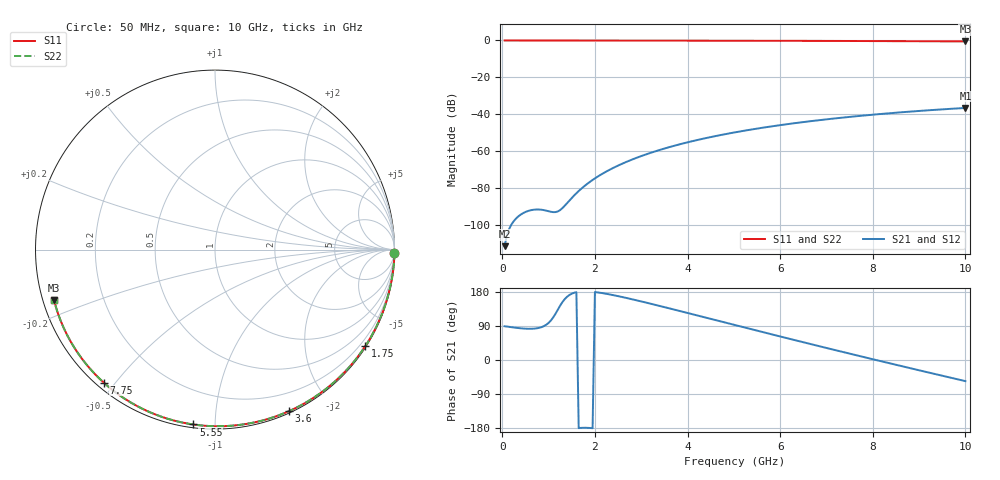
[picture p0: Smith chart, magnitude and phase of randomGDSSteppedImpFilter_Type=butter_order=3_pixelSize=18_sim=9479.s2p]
! freq	dB(S11)	phase(S11)	dB(S12)	phase(S12)
!  dB(S21)	phase(S21)	dB(S22)	phase(S22)
!S-par simulation data
#  GHz  S  DB  R 50
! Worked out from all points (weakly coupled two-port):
!   200 points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, 50 MHz to 10 GHz, reference 50 ohm
!   highest |S21| = -36.55 dB at 10 GHz (marker M1); lowest = -111.4 dB at 50 MHz (marker M2)
!   lowest |S11| = -0.5 dB at 10 GHz (marker M3), VSWR 32.41, Z = 1.58 - j7.62 ohm
!   |S11| at or under -10 dB: nowhere
!   |S22| runs from -0.5 to 0.0 dB; largest |S21 - S12| = 0
!   S11 on the Smith chart (normalised r, x): 50 MHz: open; 1.75 GHz: 0.03, -3.40; 3.6 GHz: 0.02, -1.55; 5.55 GHz: 0.02, -0.88; 7.75 GHz: 0.02, -0.47; 10 GHz: 0.03, -0.15
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0.05  -0.00 -1.0  -111.38 89.1  -111.38 89.1  -0.00 -1.0
0.45  -0.01 -8.6  -93.48 83.1  -93.48 83.1  -0.01 -8.6
0.85  -0.02 -16.1  -91.66 86.9  -91.66 86.9  -0.02 -16.1
1.25  -0.03 -23.6  -91.82 143.6  -91.82 143.6  -0.03 -23.6
1.7  -0.04 -31.9  -80.38 -179.1  -80.38 -179.1  -0.04 -31.9
1.75  -0.04 -32.8  -79.31 -178.8  -79.31 -178.8  -0.04 -32.8
1.9  -0.05 -35.5  -76.40 -179.4  -76.40 -179.4  -0.05 -35.5
2.05  -0.05 -38.3  -73.86 178.6  -73.86 178.6  -0.05 -38.3
2.25  -0.05 -41.9  -70.91 174.6  -70.91 174.6  -0.05 -41.9
2.45  -0.06 -45.5  -68.34 169.8  -68.34 169.8  -0.06 -45.5
2.9  -0.07 -53.4  -63.53 157.5  -63.53 157.5  -0.07 -53.4
3.4  -0.08 -62.1  -59.27 142.6  -59.27 142.6  -0.08 -62.1
3.6  -0.09 -65.5  -57.79 136.5  -57.79 136.5  -0.09 -65.5
4.3  -0.11 -77.2  -53.39 114.8  -53.39 114.8  -0.11 -77.2
5.05  -0.14 -89.3  -49.63 91.4  -49.63 91.4  -0.14 -89.3
5.55  -0.16 -97.1  -47.52 75.9  -47.52 75.9  -0.16 -97.1
6.1  -0.19 -105.5  -45.50 59.0  -45.50 59.0  -0.19 -105.5
6.7  -0.22 -114.5  -43.57 40.8  -43.57 40.8  -0.22 -114.5
7.75  -0.30 -129.9  -40.77 9.4  -40.77 9.4  -0.30 -129.9
8.35  -0.35 -138.6  -39.43 -8.3  -39.43 -8.3  -0.35 -138.6
9.2  -0.44 -150.9  -37.80 -32.9  -37.80 -32.9  -0.44 -150.9
10  -0.54 -162.7  -36.55 -55.8  -36.55 -55.8  -0.54 -162.6
